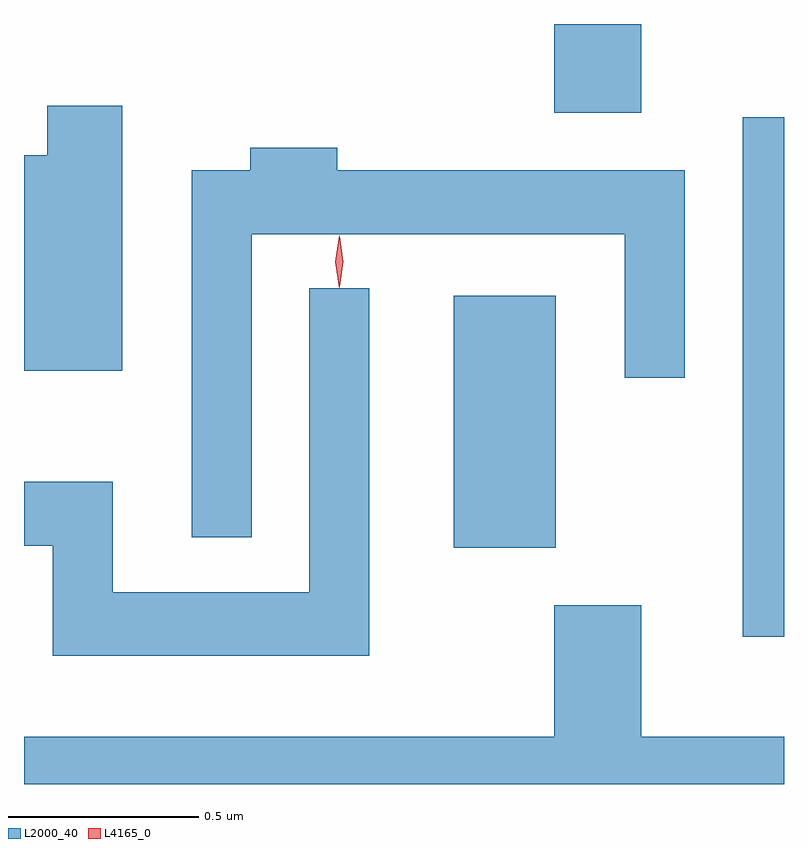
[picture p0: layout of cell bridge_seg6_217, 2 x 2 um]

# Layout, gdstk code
import gdstk
lib = gdstk.Library(unit=1e-6, precision=1e-09)
def R(c, l, rs):  # rectangles x0, y0, x1, y1
    for r in rs: c.add(gdstk.rectangle(r[:2], r[2:], *l))
def P(c, l, *ps):  # polygons
    for p in ps: c.add(gdstk.Polygon(p, *l))
L2000_40 = (2000, 40)
L4165_0 = (4165, 0)

bridge_seg6_217 = lib.new_cell('bridge_seg6_217')
R(bridge_seg6_217, L2000_40, [(1081.076,1559.446,1081.185,1560.813), (1080.316,1559.681,1080.584,1560.344), (1080.581,1560.826,1080.809,1561.059)])
P(bridge_seg6_217, L2000_40, [(1079.444,1560.844),(1079.246,1560.844),(1079.246,1560.714),(1079.186,1560.714),(1079.186,1560.374),(1079.185,1560.374),(1079.185,1560.146),(1079.444,1560.146)],
  [(1079.784,1560.506),(1080.766,1560.506),(1080.766,1560.128),(1080.924,1560.128),(1080.924,1560.674),(1080.009,1560.674),(1080.009,1560.734),(1079.781,1560.734),(1079.781,1560.674),(1079.626,1560.674),(1079.626,1559.708),(1079.784,1559.708)],
  [(1080.094,1560.363),(1079.936,1560.363),(1079.936,1559.564),(1079.419,1559.564),(1079.419,1559.854),(1079.185,1559.854),(1079.185,1559.686),(1079.261,1559.686),(1079.261,1559.396),(1080.094,1559.396)],
  [(1081.185,1559.184),(1080.809,1559.184),(1080.809,1559.529),(1080.581,1559.529),(1080.581,1559.184),(1079.185,1559.184),(1079.185,1559.059),(1081.185,1559.059)])
P(bridge_seg6_217, L4165_0, [(1080.015,1560.367),(1080.015,1560.368),(1080.005,1560.434),(1080.015,1560.5),(1080.015,1560.501),(1080.016,1560.5),(1080.025,1560.434),(1080.016,1560.368)],
  [(1080.014,1560.364),(1080.014,1560.364),(1080.004,1560.433),(1080.014,1560.502),(1080.014,1560.503),(1080.015,1560.502),(1080.024,1560.433),(1080.015,1560.364)])

lib.write_gds('bridge_seg6_217.gds')
